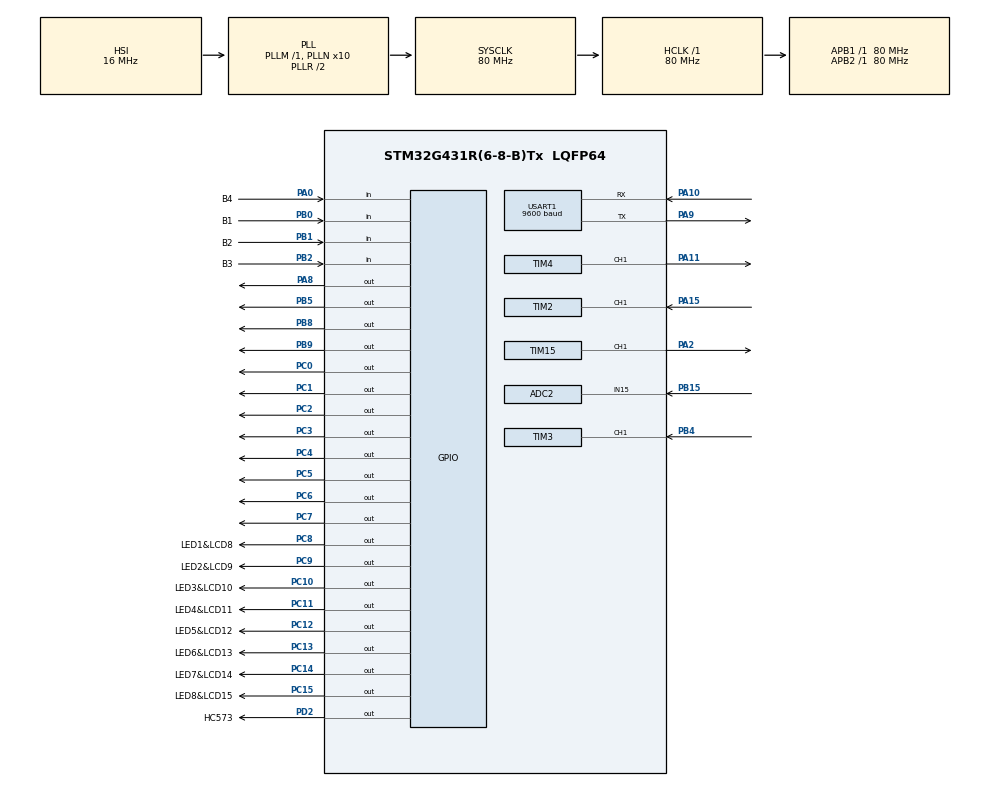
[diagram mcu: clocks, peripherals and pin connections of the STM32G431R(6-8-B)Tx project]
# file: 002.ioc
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ADC2.Channel-0\#ChannelRegularConversion=ADC_CHANNEL_15
ADC2.ClockPrescaler=ADC_CLOCK_ASYNC_DIV8
ADC2.ContinuousConvMode=ENABLE
ADC2.DMAContinuousRequests=ENABLE
ADC2.NbrOfConversionFlag=1
ADC2.OffsetNumber-0\#ChannelRegularConversion=ADC_OFFSET_NONE
ADC2.Rank-0\#ChannelRegularConversion=1
ADC2.SamplingTime-0\#ChannelRegularConversion=ADC_SAMPLETIME_2CYCLES_5
Dma.ADC2.0.Direction=DMA_PERIPH_TO_MEMORY
Dma.ADC2.0.EventEnable=DISABLE
Dma.ADC2.0.Instance=DMA1_Channel1
Dma.ADC2.0.MemDataAlignment=DMA_MDATAALIGN_WORD
Dma.ADC2.0.MemInc=DMA_MINC_ENABLE
Dma.ADC2.0.Mode=DMA_NORMAL
Dma.ADC2.0.PeriphDataAlignment=DMA_PDATAALIGN_HALFWORD
Dma.ADC2.0.PeriphInc=DMA_PINC_DISABLE
Dma.ADC2.0.Polarity=HAL_DMAMUX_REQ_GEN_RISING
Dma.ADC2.0.Priority=DMA_PRIORITY_LOW
Dma.ADC2.0.RequestNumber=1
Dma.ADC2.0.SignalID=NONE
Dma.ADC2.0.SyncEnable=DISABLE
Dma.ADC2.0.SyncPolarity=HAL_DMAMUX_SYNC_NO_EVENT
Dma.ADC2.0.SyncRequestNumber=1
Dma.ADC2.0.SyncSignalID=NONE
Dma.Request0=ADC2
Mcu.Family=STM32G4
Mcu.Name=STM32G431R(6-8-B)Tx
Mcu.Package=LQFP64
NVIC.DMA1_Channel1_IRQn=true\:0\:0\:false\:false\:true\:false\:true\:true
NVIC.PriorityGroup=NVIC_PRIORITYGROUP_4
NVIC.TIM2_IRQn=true\:0\:0\:false\:false\:true\:true\:true\:true
NVIC.USART1_IRQn=true\:0\:0\:false\:false\:true\:true\:true\:true
PA0.GPIO_Label=B4
PA0.GPIO_PuPd=GPIO_PULLUP
PA0.Signal=GPIO_Input
PA10.Mode=Asynchronous
PA10.Signal=USART1_RX
PA11.Signal=S_TIM4_CH1
PA13.Mode=Serial_Wire
PA13.Signal=SYS_JTMS-SWDIO
PA14.Mode=Serial_Wire
PA14.Signal=SYS_JTCK-SWCLK
PA15.Signal=S_TIM2_CH1
PA2.Signal=S_TIM15_CH1
PA8.Signal=GPIO_Output
PA9.Mode=Asynchronous
PA9.Signal=USART1_TX
PB0.GPIO_Label=B1
PB0.GPIO_PuPd=GPIO_PULLUP
PB0.Signal=GPIO_Input
PB1.GPIO_Label=B2
PB1.GPIO_PuPd=GPIO_PULLUP
PB1.Signal=GPIO_Input
PB15.Mode=IN15-Single-Ended
PB15.Signal=ADC2_IN15
PB2.GPIO_Label=B3
PB2.GPIO_PuPd=GPIO_PULLUP
PB2.Signal=GPIO_Input
PB4.Signal=S_TIM3_CH1
PB5.Signal=GPIO_Output
PB8-BOOT0.Signal=GPIO_Output
PB9.Signal=GPIO_Output
PC0.Signal=GPIO_Output
PC1.Signal=GPIO_Output
PC10.GPIO_Label=LED3&LCD10
PC10.Signal=GPIO_Output
PC11.GPIO_Label=LED4&LCD11
PC11.Signal=GPIO_Output
PC12.GPIO_Label=LED5&LCD12
PC12.Signal=GPIO_Output
PC13.GPIO_Label=LED6&LCD13
PC13.Signal=GPIO_Output
PC14-OSC32_IN.GPIO_Label=LED7&LCD14
PC14-OSC32_IN.Signal=GPIO_Output
PC15-OSC32_OUT.GPIO_Label=LED8&LCD15
PC15-OSC32_OUT.Signal=GPIO_Output
PC2.Signal=GPIO_Output
PC3.Signal=GPIO_Output
PC4.Signal=GPIO_Output
PC5.Signal=GPIO_Output
PC6.Signal=GPIO_Output
PC7.Signal=GPIO_Output
PC8.GPIO_Label=LED1&LCD8
PC8.Signal=GPIO_Output
PC9.GPIO_Label=LED2&LCD9
PC9.Signal=GPIO_Output
PD2.GPIO_Label=HC573
PD2.Signal=GPIO_Output
PF0-OSC_IN.Mode=HSE-External-Oscillator
PF0-OSC_IN.Signal=RCC_OSC_IN
PF1-OSC_OUT.Mode=HSE-External-Oscillator
PF1-OSC_OUT.Signal=RCC_OSC_OUT
ProjectManager.HeapSize=0x200
ProjectManager.StackSize=0x400
ProjectManager.TargetToolchain=MDK-ARM V5
RCC.ADC12Freq_Value=80000000
RCC.AHBFreq_Value=80000000
RCC.APB1Freq_Value=80000000
RCC.APB1TimFreq_Value=80000000
RCC.APB2Freq_Value=80000000
RCC.APB2TimFreq_Value=80000000
RCC.CortexFreq_Value=80000000
RCC.EXTERNAL_CLOCK_VALUE=12288000
RCC.HCLKFreq_Value=80000000
RCC.HSE_VALUE=24000000
RCC.HSI48_VALUE=48000000
RCC.HSI_VALUE=16000000
RCC.LSE_VALUE=32768
RCC.PLLN=10
RCC.SYSCLKFreq_VALUE=80000000
RCC.SYSCLKSource=RCC_SYSCLKSOURCE_PLLCLK
RCC.USBFreq_Value=80000000
RCC.VCOOutputFreq_Value=160000000
SH.S_TIM15_CH1.0=TIM15_CH1,PWM Generation1 CH1
SH.S_TIM2_CH1.0=TIM2_CH1,Input_Capture1_from_TI1
SH.S_TIM3_CH1.0=TIM3_CH1,Input_Capture1_from_TI1
SH.S_TIM4_CH1.0=TIM4_CH1,Output Compare1 CH1
TIM15.AutoReloadPreload=TIM_AUTORELOAD_PRELOAD_ENABLE
TIM15.Channel-PWM\ Generation1\ CH1=TIM_CHANNEL_1
TIM15.PeriodNoDither=999
TIM15.Prescaler=79
TIM15.PulseNoDither_1=200
TIM2.Channel-Input_Capture1_from_TI1=TIM_CHANNEL_1
TIM2.PeriodNoDither=65535
TIM2.Prescaler=80-1
TIM3.Channel-Input_Capture1_from_TI1=TIM_CHANNEL_1
TIM3.Prescaler=80-1
TIM4.Channel-Output\ Compare1\ CH1=TIM_CHANNEL_1
TIM4.Prescaler=80-1
TIM6.PeriodNoDither=1000
TIM6.Prescaler=8000
USART1.BaudRate=9600
USART1.VirtualMode-Asynchronous=VM_ASYNC
VP_SYS_VS_DBSignals.Mode=DisableDeadBatterySignals
VP_TIM15_VS_ClockSourceINT.Mode=Internal
VP_TIM6_VS_ClockSourceINT.Mode=Enable_Timer
board=custom

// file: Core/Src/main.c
/* USER CODE BEGIN Header */
/**
  ******************************************************************************
  * @file           : main.c
  * @brief          : Main program body
  ******************************************************************************
  * @attention
  *
  * Copyright (c) 2024 STMicroelectronics.
  * All rights reserved.
  *
  * This software is licensed under terms that can be found in the LICENSE file
  * in the root directory of this software component.
  * If no LICENSE file comes with this software, it is provided AS-IS.
  *
  ******************************************************************************
  */
/* USER CODE END Header */
#include "main.h"
#include "adc.h"
#include "dma.h"
#include "tim.h"
#include "usart.h"
#include "gpio.h"

/* USER CODE BEGIN Includes */
#include "string.h"
#include "stdio.h"
#include "LED.h"
#include "Bsp_Button.h"
#include "Test.h"
#include "lcd.h"
#include "Bsp_Usart.h"

/* USER CODE END Includes */

void SystemClock_Config(void);

int main(void)
{

  /* MCU Configuration--------------------------------------------------------*/

  /* Reset of all peripherals, Initializes the Flash interface and the Systick. */
  HAL_Init();

  /* Configure the system clock */
  SystemClock_Config();

  /* Initialize all configured peripherals */
  MX_GPIO_Init();
  MX_DMA_Init();
  MX_USART1_UART_Init();
  MX_TIM2_Init();
  MX_TIM3_Init();
  MX_TIM4_Init();
  MX_TIM6_Init();
  MX_TIM15_Init();
  MX_ADC2_Init();
  /* USER CODE BEGIN 2 */

	//BSP_LED_TestTask();

	LED_State=0x01;
	LED_Control(LED_State);
	LCD_Init();
	//LCD_TestTask();
	//PWM_Display();
	HAL_TIM_PWM_Start(&htim15,TIM_CHANNEL_1);   //定时器15的PWN_CH1输出
	pwmchange();
	//测试串口
    sprintf((char *)Uart1_Tx_Buf, "hello world!\n");  //注意需要头文件："stdio.h"
    Uart1_Send(Uart1_Tx_Buf,strlen((char *)Uart1_Tx_Buf));

  /* USER CODE END 2 */

  /* Infinite loop */
  /* USER CODE BEGIN WHILE */
  while (1)
  {
		KeyProcess2();
		Uart1_RX_Pro();
    /* USER CODE END WHILE */

  }
}

void SystemClock_Config(void)
{
  RCC_OscInitTypeDef RCC_OscInitStruct = {0};
  RCC_ClkInitTypeDef RCC_ClkInitStruct = {0};

  /** Configure the main internal regulator output voltage
  */
  HAL_PWREx_ControlVoltageScaling(PWR_REGULATOR_VOLTAGE_SCALE1);

  /** Initializes the RCC Oscillators according to the specified parameters
  * in the RCC_OscInitTypeDef structure.
  */
  RCC_OscInitStruct.OscillatorType = RCC_OSCILLATORTYPE_HSI;
  RCC_OscInitStruct.HSIState = RCC_HSI_ON;
  RCC_OscInitStruct.HSICalibrationValue = RCC_HSICALIBRATION_DEFAULT;
  RCC_OscInitStruct.PLL.PLLState = RCC_PLL_ON;
  RCC_OscInitStruct.PLL.PLLSource = RCC_PLLSOURCE_HSI;
  RCC_OscInitStruct.PLL.PLLM = RCC_PLLM_DIV1;
  RCC_OscInitStruct.PLL.PLLN = 10;
  RCC_OscInitStruct.PLL.PLLP = RCC_PLLP_DIV2;
  RCC_OscInitStruct.PLL.PLLQ = RCC_PLLQ_DIV2;
  RCC_OscInitStruct.PLL.PLLR = RCC_PLLR_DIV2;
  if (HAL_RCC_OscConfig(&RCC_OscInitStruct) != HAL_OK)
  {
    Error_Handler();
  }

  /** Initializes the CPU, AHB and APB buses clocks
  */
  RCC_ClkInitStruct.ClockType = RCC_CLOCKTYPE_HCLK|RCC_CLOCKTYPE_SYSCLK
                              |RCC_CLOCKTYPE_PCLK1|RCC_CLOCKTYPE_PCLK2;
  RCC_ClkInitStruct.SYSCLKSource = RCC_SYSCLKSOURCE_PLLCLK;
  RCC_ClkInitStruct.AHBCLKDivider = RCC_SYSCLK_DIV1;
  RCC_ClkInitStruct.APB1CLKDivider = RCC_HCLK_DIV1;
  RCC_ClkInitStruct.APB2CLKDivider = RCC_HCLK_DIV1;

  if (HAL_RCC_ClockConfig(&RCC_ClkInitStruct, FLASH_LATENCY_2) != HAL_OK)
  {
    Error_Handler();
  }
}

void Error_Handler(void)
{
  __disable_irq();
  while (1)
  {
  }
}
